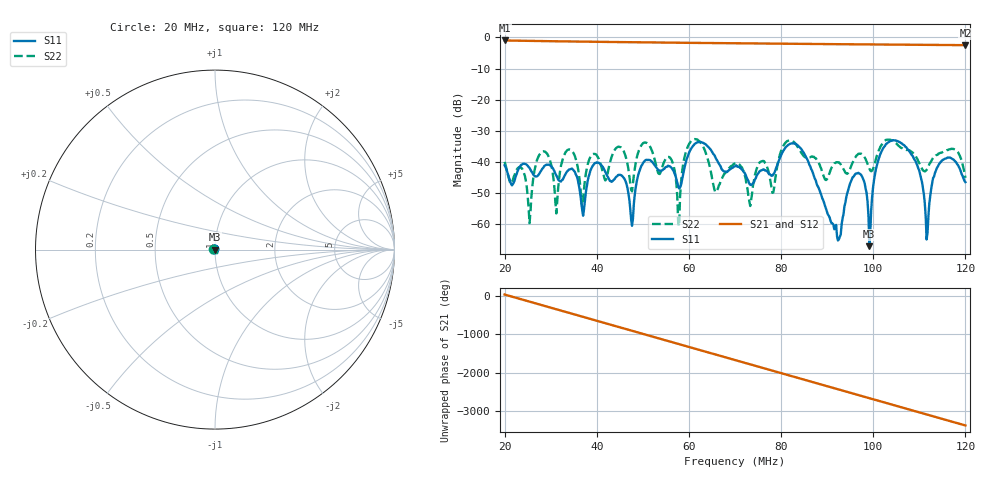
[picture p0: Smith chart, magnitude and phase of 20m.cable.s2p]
! Anritsu VNA Master:  Model: MS2036C/10/77
! SN:  1601066
! /bd0/18may23.rg316.s11.pre.field/18may23.24.balun/20m.cable.s2p
! Existing Calibration Information:
! TYPE:  Current Settings,  Active Cal Settings
! TIME:  05/23/2018 05:16:03 PM,  05/23/2018 05:06:53 PM
! INTERNAL TEMP:  47.0 C,  47.3 C
! # POINTS:  500,  500
! START FREQ:  20.000 MHz,  20.000 MHz
! STOP FREQ:  120.000 MHz,  120.000 MHz
! SOURCE POWER:  High,  High
! IFBW:  50 Hz,  50 Hz
! AVG FACTOR:  1 ,  1
! REF PLANE 1:  0 mm,  0 mm
! REF PLANE 2:  0 mm,  0 mm
! CAL TYPE:  Full 2 Port,  Full 2 Port
! CAL METHOD:  SOLT,  SOLT
! CAL LINE TYPE:  Coax,  Coax
! DUT PORT 1:  K-Conn(M),  K-Conn(M)
! DUT PORT 2:  K-Conn(M),  K-Conn(M)
! CAL STATUS:  OK: Accuracy High,  --
# GHZ S DB R 50.0
! FREQ.GHZ  S11DB  S11A  S21DB  S21A  S12DB  S12A  S22DB  S22A
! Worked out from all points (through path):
!   500 points, 20 MHz to 120 MHz, reference 50 ohm
!   highest |S21| = -1.00 dB at 20 MHz (marker M1); lowest = -2.5 dB at 120 MHz (marker M2)
!   group delay of S21, straight-line fit = 94.7 ns
!   lowest |S11| = -67.0 dB at 99.16 MHz (marker M3), VSWR 1.00, Z = 50 + j0.0294 ohm
!   |S11| at or under -10 dB: start of sweep to end of sweep
!   |S22| runs from -60.6 to -32.6 dB; largest |S21 - S12| = 0.0013
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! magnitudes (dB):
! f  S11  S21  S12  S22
! 20 MHz  -41.0  -1.0  -1.0  -39.9
! 25.41 MHz  -41.9  -1.1  -1.1  -59.6
! 27.82 MHz  -43.0  -1.2  -1.2  -37.2
! 31.22 MHz  -44.3  -1.3  -1.3  -56.5
! 34.23 MHz  -42.3  -1.3  -1.3  -36.0
! 36.83 MHz  -55.3  -1.4  -1.4  -54.7
! 39.24 MHz  -41.0  -1.4  -1.4  -37.4
! 47.66 MHz  -60.5  -1.6  -1.6  -49.4
! 50.26 MHz  -39.9  -1.6  -1.6  -33.8
! 53.47 MHz  -42.6  -1.7  -1.7  -43.8
! 57.68 MHz  -47.8  -1.7  -1.7  -59.7
! 70.1 MHz  -41.3  -1.9  -1.9  -40.5
! 73.31 MHz  -47.3  -1.9  -1.9  -54.1
! 86.73 MHz  -42.8  -2.1  -2.1  -38.2
! 92.55 MHz  -64.8  -2.2  -2.2  -40.1
! 96.35 MHz  -43.6  -2.2  -2.2  -37.9
! 99.16 MHz  -67.0  -2.3  -2.3  -42.1
! 103.4 MHz  -33.6  -2.3  -2.3  -32.8
! 109.2 MHz  -39.7  -2.4  -2.4  -38.0
! 111.6 MHz  -64.9  -2.4  -2.4  -42.5
! 114.8 MHz  -39.7  -2.4  -2.5  -37.0
! 120 MHz  -46.5  -2.5  -2.5  -45.1
